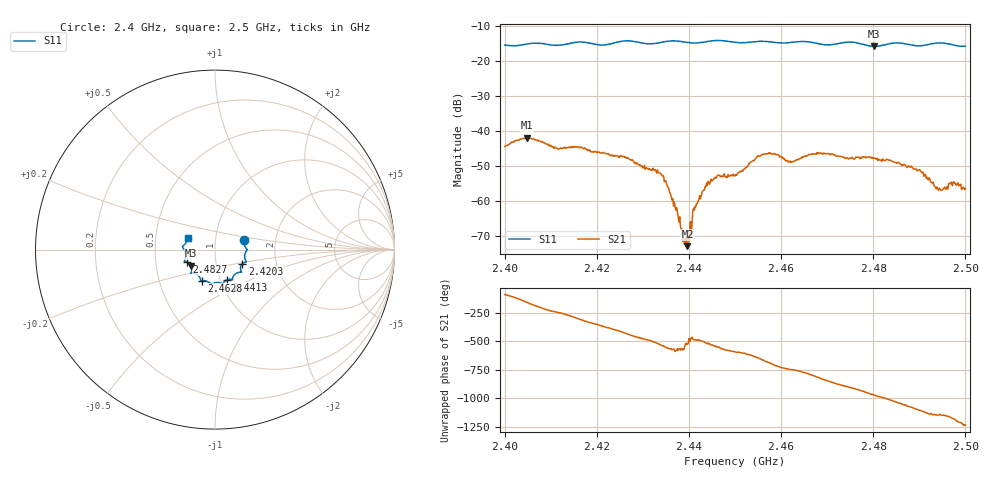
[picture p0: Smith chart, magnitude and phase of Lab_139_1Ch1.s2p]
# Hz S RI R 50
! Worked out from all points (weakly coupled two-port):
!   601 points, 2.4 GHz to 2.5 GHz, reference 50 ohm
!   highest |S21| = -41.97 dB at 2.4048 GHz (marker M1); lowest = -73.0 dB at 2.4397 GHz (marker M2)
!   lowest |S11| = -15.8 dB at 2.4802 GHz (marker M3), VSWR 1.39, Z = 37.5 - j6.9 ohm
!   |S11| at or under -10 dB: start of sweep to end of sweep
!   S12 and S22 are empty: the file has one direction only
!   S11 on the Smith chart (normalised r, x): 2.4 GHz: 1.38, +0.15; 2.4203 GHz: 1.34, -0.22; 2.4413 GHz: 1.08, -0.38; 2.4628 GHz: 0.82, -0.29; 2.4827 GHz: 0.72, -0.10; 2.5 GHz: 0.73, +0.10
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2.4e9  0.1621 0.0531  0.000175 -0.00596  0 0  0 0
2.404833e9  0.1759 0.00419  -0.00733 -0.00314  0 0  0 0
2.4115e9  0.1652 -0.0307  -0.00225 0.00506  0 0  0 0
2.416667e9  0.1744 -0.0698  0.00389 0.0044  0 0  0 0
2.420333e9  0.1521 -0.0794  0.00492 0.000513  0 0  0 0
2.433333e9  0.0997 -0.1523  -0.00239 -0.000911  0 0  0 0
2.4355e9  0.098 -0.1668  -0.00145 0.000549  0 0  0 0
2.439167e9  0.0878 -0.1654  -0.000244 -4.12e-05  0 0  0 0
2.439667e9  0.0836 -0.1651  -0.000216 -5.48e-05  0 0  0 0
2.441333e9  0.0671 -0.1689  -0.000514 -0.000648  0 0  0 0
2.444333e9  0.0456 -0.1874  -0.00167 -0.000574  0 0  0 0
2.45e9  0.0246 -0.1845  -0.0014 0.00177  0 0  0 0
2.456333e9  -0.0211 -0.1911  0.00286 0.00372  0 0  0 0
2.462833e9  -0.072 -0.1734  0.00321 -0.00184  0 0  0 0
2.466667e9  -0.0805 -0.1678  0.00104 -0.00457  0 0  0 0
2.480167e9  -0.1356 -0.0896  -0.00123 0.00394  0 0  0 0
2.482667e9  -0.1577 -0.0705  0.000731 0.00368  0 0  0 0
2.483333e9  -0.163 -0.0684  0.00124 0.0036  0 0  0 0
2.490333e9  -0.1654 -0.017  0.00229 -0.00124  0 0  0 0
2.4945e9  -0.1818 0.0165  0.000736 -0.00127  0 0  0 0
2.497e9  -0.1701 0.0278  2.25e-05 -0.00185  0 0  0 0
2.5e9  -0.1508 0.0645  -0.00134 -0.000659  0 0  0 0
